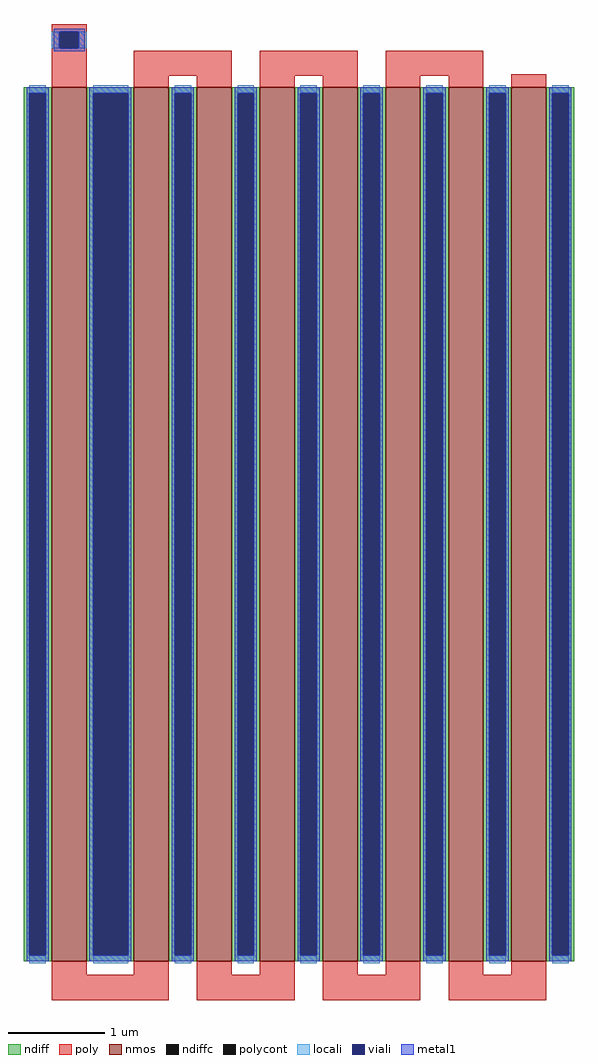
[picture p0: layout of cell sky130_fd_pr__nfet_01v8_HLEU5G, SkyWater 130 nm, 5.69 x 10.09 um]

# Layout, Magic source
magic
tech sky130A
magscale 1 2
<< nmos >>
rect -531 -903 -459 903
rect -361 -903 -289 903
rect -231 -903 -159 903
rect -101 -903 -29 903
rect 29 -903 101 903
rect 159 -903 231 903
rect 289 -903 361 903
rect 419 -903 491 903
<< ndiff >>
rect -589 891 -531 903
rect -589 -891 -577 891
rect -543 -891 -531 891
rect -589 -903 -531 -891
rect -459 891 -361 903
rect -459 -891 -445 891
rect -373 -891 -361 891
rect -459 -903 -361 -891
rect -289 891 -231 903
rect -289 -891 -277 891
rect -243 -891 -231 891
rect -289 -903 -231 -891
rect -159 891 -101 903
rect -159 -891 -147 891
rect -113 -891 -101 891
rect -159 -903 -101 -891
rect -29 891 29 903
rect -29 -891 -17 891
rect 17 -891 29 891
rect -29 -903 29 -891
rect 101 891 159 903
rect 101 -891 113 891
rect 147 -891 159 891
rect 101 -903 159 -891
rect 231 891 289 903
rect 231 -891 243 891
rect 277 -891 289 891
rect 231 -903 289 -891
rect 361 891 419 903
rect 361 -891 373 891
rect 407 -891 419 891
rect 361 -903 419 -891
rect 491 891 549 903
rect 491 -891 503 891
rect 537 -891 549 891
rect 491 -903 549 -891
<< ndiffc >>
rect -577 -891 -543 891
rect -445 -891 -373 891
rect -277 -891 -243 891
rect -147 -891 -113 891
rect -17 -891 17 891
rect 113 -891 147 891
rect 243 -891 277 891
rect 373 -891 407 891
rect 503 -891 537 891
<< poly >>
rect -531 1018 -459 1034
rect -531 984 -515 1018
rect -475 984 -459 1018
rect -531 903 -459 984
rect -361 927 -159 979
rect -361 903 -289 927
rect -231 903 -159 927
rect -101 927 101 979
rect -101 903 -29 927
rect 29 903 101 927
rect 159 927 361 979
rect 159 903 231 927
rect 289 903 361 927
rect 419 903 491 930
rect -531 -931 -459 -903
rect -361 -931 -289 -903
rect -531 -983 -289 -931
rect -231 -931 -159 -903
rect -101 -931 -29 -903
rect -231 -983 -29 -931
rect 29 -931 101 -903
rect 159 -931 231 -903
rect 29 -983 231 -931
rect 289 -931 361 -903
rect 419 -931 491 -903
rect 289 -983 491 -931
<< polycont >>
rect -515 984 -475 1018
<< locali >>
rect -531 984 -515 1018
rect -475 984 -459 1018
rect -577 891 -543 907
rect -577 -907 -543 -891
rect -445 891 -373 907
rect -445 -907 -373 -891
rect -277 891 -243 907
rect -277 -907 -243 -891
rect -147 891 -113 907
rect -147 -907 -113 -891
rect -17 891 17 907
rect -17 -907 17 -891
rect 113 891 147 907
rect 113 -907 147 -891
rect 243 891 277 907
rect 243 -907 277 -891
rect 373 891 407 907
rect 373 -907 407 -891
rect 503 891 537 907
rect 503 -907 537 -891
<< viali >>
rect -515 984 -475 1018
rect -577 -891 -543 891
rect -445 -891 -373 891
rect -277 -891 -243 891
rect -147 -891 -113 891
rect -17 -891 17 891
rect 113 -891 147 891
rect 243 -891 277 891
rect 373 -891 407 891
rect 503 -891 537 891
<< metal1 >>
rect -527 1018 -463 1024
rect -527 984 -515 1018
rect -475 984 -463 1018
rect -527 978 -463 984
rect -583 891 -537 903
rect -583 -891 -577 891
rect -543 -891 -537 891
rect -583 -903 -537 -891
rect -453 891 -367 903
rect -453 -891 -445 891
rect -373 -891 -367 891
rect -453 -903 -367 -891
rect -283 891 -237 903
rect -283 -891 -277 891
rect -243 -891 -237 891
rect -283 -903 -237 -891
rect -153 891 -107 903
rect -153 -891 -147 891
rect -113 -891 -107 891
rect -153 -903 -107 -891
rect -23 891 23 903
rect -23 -891 -17 891
rect 17 -891 23 891
rect -23 -903 23 -891
rect 107 891 153 903
rect 107 -891 113 891
rect 147 -891 153 891
rect 107 -903 153 -891
rect 237 891 283 903
rect 237 -891 243 891
rect 277 -891 283 891
rect 237 -903 283 -891
rect 367 891 413 903
rect 367 -891 373 891
rect 407 -891 413 891
rect 367 -903 413 -891
rect 497 891 543 903
rect 497 -891 503 891
rect 537 -891 543 891
rect 497 -903 543 -891
<< properties >>
string gencell sky130_fd_pr__nfet_01v8
string library sky130
string parameters w 9.03 l 0.361 m 1 nf 8 diffcov 100 polycov 100 guard 0 glc 1 grc 1 gtc 1 gbc 1 tbcov 100 rlcov 100 topc 1 botc 1 poverlap 0 doverlap 1 lmin 0.15 wmin 0.42 compatible {sky130_fd_pr__nfet_01v8 sky130_fd_pr__nfet_01v8_lvt  sky130_fd_bs_flash__special_sonosfet_star  sky130_fd_pr__nfet_g5v0d10v5 sky130_fd_pr__nfet_05v0_nvt  sky130_fd_pr__nfet_03v3_nvt} full_metal 1 viasrc 100 viadrn 100 viagate 100 viagb 0 viagr 0 viagl 0 viagt 0
<< end >>
